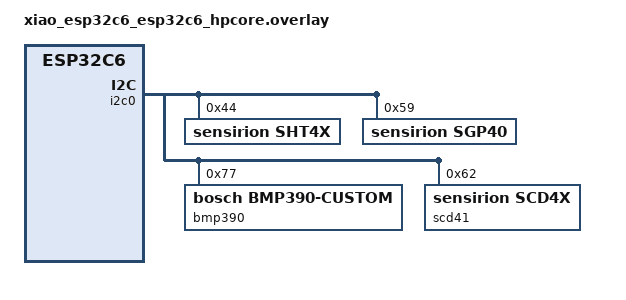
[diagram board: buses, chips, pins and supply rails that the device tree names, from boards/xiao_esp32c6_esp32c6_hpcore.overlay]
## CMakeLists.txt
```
# SPDX-License-Identifier: Apache-2.0

cmake_minimum_required(VERSION 3.20.0)

find_package(Zephyr REQUIRED HINTS $ENV{ZEPHYR_BASE})
project(air_quality_sensor)

target_include_directories(app PRIVATE
    include
    thirdparty/sensirion_gas_index_algorithm
)

# Listed explicitly rather than globbed: a glob is evaluated at configure time,
# so new files are missed until something forces a re-run, and it silently
# compiles anything that happens to sit under src/ - including the generated
# sources under src/matter/default_zap/zap-generated, which ncs_configure_data_model()
# already supplies to the matter-data-model target.
target_sources(app PRIVATE
    src/main.c
    src/air_quality_monitor.c
    src/components/device_identity.cpp
    src/components/event_handler.c
    src/components/factory_reset.cpp
    src/components/matter_handler.cpp
    src/components/sensors.c
    src/drivers/led_controller.c
    src/utils/air_quality_mapper.c
    src/utils/air_quality_mapper.cpp
    src/utils/variable_buffer.c
    thirdparty/sensirion_gas_index_algorithm/sensirion_gas_index_algorithm.c
)


# Enable GNU STD support.
include(${ZEPHYR_CONNECTEDHOMEIP_MODULE_DIR}/config/nrfconnect/app/enable-gnu-std.cmake)
# Include all source files that are located in the Matter common directory.
include(${ZEPHYR_NRF_MODULE_DIR}/samples/matter/common/cmake/source_common.cmake)
# Include Data Model utils
include(${ZEPHYR_NRF_MODULE_DIR}/samples/matter/common/cmake/data_model.cmake)
# Include ZAP helpers
include(${ZEPHYR_NRF_MODULE_DIR}/samples/matter/common/cmake/zap_helpers.cmake)
ncs_get_zap_parent_dir(ZAP_PARENT_DIR)

target_include_directories(app PRIVATE
    src/matter
    ${ZAP_PARENT_DIR}
)

ncs_configure_data_model()
```

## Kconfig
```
# Main Kconfig file for air quality sensor

mainmenu "Air Quality Sensor Configuration"

source "Kconfig.zephyr"

# Matter over Thread support (see src/matter/) - the only supported
# communication stack, enabled via CONFIG_CHIP=y in prj.conf.
if NET_L2_OPENTHREAD

choice OPENTHREAD_NORDIC_LIBRARY_CONFIGURATION
    default OPENTHREAD_NORDIC_LIBRARY_MTD
endchoice

choice OPENTHREAD_DEVICE_TYPE
    default OPENTHREAD_MTD
endchoice

endif # NET_L2_OPENTHREAD

source "${ZEPHYR_CONNECTEDHOMEIP_MODULE_DIR}/config/nrfconnect/chip-module/Kconfig.features"
source "${ZEPHYR_CONNECTEDHOMEIP_MODULE_DIR}/config/nrfconnect/chip-module/Kconfig.defaults"
source "${ZEPHYR_NRF_MODULE_DIR}/samples/matter/common/src/Kconfig"

menu "Application Configuration"

menu "Timing Configuration"

config SAMPLE_INTERVAL_MS
    int "Sensor sampling interval (milliseconds)"
    range 1000 3600000
    default 5000
    help
      How often every enabled sensor is read. This is a property of the sensors
      rather than of reporting: it also sets the sampling interval handed to the
      Sensirion gas index algorithm, which is specified for 1 s and tested up to
      10 s, and it is bounded below at 1000 ms so that the conversion to whole
      seconds stays meaningful.

config REPORT_INTERVAL_MS
    int "Matter reporting interval (milliseconds)"
    range 1000 3600000
    default 60000
    help
      How often the Matter cluster attributes are refreshed from the buffered
      samples. Together with SAMPLE_INTERVAL_MS this also sets how many samples
      are averaged into each reported value: one reporting period's worth, so
      every sample contributes to exactly one report. Note that when a controller
      actually receives values is governed by its own subscription min/max
      intervals, not by this value.


config SENSOR_WARMUP_TIME_MS
    int "Sensor warmup time (milliseconds)"
    default 5000
    help
      Warmup time for sensors in milliseconds. Required by SGP40 for consistent readings.

endmenu

menu "Factory Reset Configuration"

config FACTORY_RESET_POWER_CYCLES
    int "Power cycles in succession that trigger a factory reset"
    range 3 10
    default 5
    help
      The assembled board exposes no button, so the power supply is the only
      control a sealed unit offers. Power cycling the device this many times,
      each within FACTORY_RESET_POWER_CYCLE_WINDOW_MS of the previous boot,
      erases the settings partition and leaves the device uncommissioned. The
      lower bound keeps a couple of genuine restarts from reaching the count.

config FACTORY_RESET_POWER_CYCLE_WINDOW_MS
    int "Window for a power cycle to count towards a reset (milliseconds)"
    range 1000 30000
    default 5000
    help
      How long the device has to stay up before the boot count is dropped. Long
      enough to power cycle deliberately, short enough that restarts spread over
      an ordinary working session never accumulate.

endmenu

menu "Peripheral Configuration"

config ENABLE_EVENT_LED
    bool "Enable event LED"
    default y
    help
      Enable or disable the event LED.

# Each sensor is gated on its devicetree node, so the board overlay is the single
# source of truth for which parts exist. Adding the node enables both the Zephyr
# driver (which defaults from the same symbol) and the application support; these
# symbols only decide whether the application uses a part that is present.

config ENABLE_SHT4X
    bool "Enable SHT4X sensor"
    depends on DT_HAS_SENSIRION_SHT4X_ENABLED
    default y
    help
      Enable or disable SHT4X temperature/humidity sensor.

config ENABLE_SGP40
    bool "Enable SGP40 sensor"
    depends on DT_HAS_SENSIRION_SGP40_ENABLED
    default y
    help
      Enable or disable SGP40 VOC sensor.

config ENABLE_SCD4X
    bool "Enable SCD4X sensor"
    depends on DT_HAS_SENSIRION_SCD41_ENABLED || DT_HAS_SENSIRION_SCD40_ENABLED
    default y
    help
      Enable or disable SCD4X CO2 sensor.

config ENABLE_BMP390
    bool "Enable BMP390 sensor"
    depends on DT_HAS_BOSCH_BMP390_ENABLED
    default y
    help
      Enable or disable BMP390 pressure sensor.

config ENABLE_BME680
    bool "Enable BME680 sensor"
    depends on DT_HAS_BOSCH_BME680_ENABLED
    default y
    help
      Enable or disable BME680 sensor.

endmenu

menu "SCD4X Sensor Configuration"

config SCD4X_ALTITUDE
    int "Altitude (meters)"
    default 10
    help
      Altitude in meters. Only used if pressure is not provided by other sensors.

config SCD4X_TEMPERATURE_OFFSET_MILLI_C
    int "Temperature offset (milli-degrees Celsius)"
    range 0 20000
    default 0
    help
      Compensates the SCD4x self heating: reported temperature = measured -
      offset. Expressed in milli-degrees because Kconfig has no float type, so
      2.35 degrees is 2350. The sensor resolves about 0.0027 degrees, and the
      driver rejects anything outside 0 to 20 degrees.

endmenu
endmenu
```

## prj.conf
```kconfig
# Stacks
CONFIG_MAIN_STACK_SIZE=8192

# --- Matter over Thread (see src/matter/) ---
CONFIG_CHIP=y
CONFIG_CHIP_PROJECT_CONFIG="src/matter/chip_project_config.h"
CONFIG_NCS_SAMPLE_MATTER_ZAP_FILE_PATH="${APPLICATION_CONFIG_DIR}/src/matter/default_zap/aqs.zap"
# Example/placeholder Product ID, see:
# https://github.com/project-chip/connectedhomeip/blob/master/docs/examples/discussion/PID_allocation_for_example_apps.md
CONFIG_CHIP_DEVICE_PRODUCT_ID=32768
CONFIG_STD_CPP17=y
CONFIG_GLIBCXX_LIBCPP=y

# Add support for LEDs and buttons on Nordic development kits
# Switch LEDS on
CONFIG_DK_LIBRARY=y
CONFIG_NCS_SAMPLE_MATTER_LEDS=y

# Enable Matter pairing (BLE commissioning window) automatically on startup.
CONFIG_CHIP_ENABLE_PAIRING_AUTOSTART=y

# Enable Matter extended announcement and increase duration to 1 hour.
CONFIG_CHIP_BLE_EXT_ADVERTISING=y
CONFIG_CHIP_BLE_ADVERTISING_DURATION=60

# Factory data / OTA left disabled for this first bring-up task - uses
# Matter's compiled-in test certificates instead. The onboarding values below are
# only the fallbacks: src/components/device_identity.cpp derives a per-board
# serial number, unique ID and discriminator from the SoC device ID and persists
# them, so one binary still yields a distinct identity on every board. The setup
# passcode stays shared - a per-board one needs a SPAKE2+ verifier generated on
# the device, which belongs with real factory data.
CONFIG_CHIP_FACTORY_DATA=n
CONFIG_CHIP_OTA_REQUESTOR=n
CONFIG_SHELL=n

# Persistent Subscriptions
CONFIG_CHIP_PERSISTENT_SUBSCRIPTIONS=y

# Force MTD + Nordic's prebuilt OpenThread library: the Kconfig choice
# defaults in Kconfig alone don't reliably resolve (OPENTHREAD_LIBRARY_AVAILABLE
# depends circularly on OPENTHREAD_NORDIC_LIBRARY_MTD), leaving OpenThread built
# from source with no Nordic radio library - causing slow/unstable Thread
# join and commissioning failures.
CONFIG_OPENTHREAD_MTD=y
CONFIG_OPENTHREAD_NORDIC_LIBRARY_MTD=y

# Intermittently Connected Device tuning. Disabled: this build is USB powered,
# so trading reachability for sleep current buys nothing, and a 5 minute poll
# interval put the device out of reach between polls. Enabling it again also
# requires the IcdManagement cluster on endpoint 0, which the ZAP does not
# currently provide, and a fast polling interval shorter than the active mode
# duration. Keep this for a future battery powered build.
# CONFIG_CHIP_ENABLE_ICD_SUPPORT=y
# CONFIG_CHIP_ICD_LIT_SUPPORT=y
# CONFIG_CHIP_ICD_IDLE_MODE_DURATION=900
# CONFIG_CHIP_ICD_SLOW_POLL_INTERVAL=300000
# CONFIG_CHIP_ICD_ACTIVE_MODE_DURATION=500
# CONFIG_CHIP_ICD_ACTIVE_MODE_THRESHOLD=10000
# CONFIG_CHIP_ICD_FAST_POLLING_INTERVAL=1000
# CONFIG_CHIP_ICD_CLIENTS_PER_FABRIC=2

# No bootloader for this first bring-up task: MCUboot's dual-slot DFU support
# doesn't fit this board's flash budget alongside Matter+Thread+BLE (see
# git history for the partition-manager investigation). Without it, this is a
# single monolithic image again, just like the original BLE-only firmware -
# which also means the existing Adafruit UF2 bootloader is left untouched.
# Revisit once a real OTA/DFU mechanism is needed.
CONFIG_BOOTLOADER_MCUBOOT=n
CONFIG_CHIP_BOOTLOADER_MCUBOOT=n
CONFIG_CHIP_BOOTLOADER_NONE=y

# Link-Time Optimization: meaningfully reduces flash usage by eliminating
# dead code more aggressively across translation units.
CONFIG_LTO=y
CONFIG_ISR_TABLES_LOCAL_DECLARATION=y

# Hardware info, for the SoC device ID the per-board Matter identity derives from
CONFIG_HWINFO=y

# Flash
CONFIG_FLASH=y
CONFIG_FLASH_MAP=y
CONFIG_NVS=y
CONFIG_SETTINGS_NVS=y

# Settings
CONFIG_SETTINGS=y
CONFIG_SETTINGS_RUNTIME=y

# Peripherals and drivers
CONFIG_GPIO=y       # Required to control LED
CONFIG_I2C=y        # Required for sensors
CONFIG_SENSOR=y     # Required for sensors

# Device drivers
# SHT4X, SGP40, SCD4X and BMP388 (which also covers bosch,bmp390) all default to
# y when a matching devicetree node is enabled, so they need no entry here.
# BME68X_IAQ is the exception: it is the licensed BSEC path, has no devicetree
# default, and is mutually exclusive with the plain BME680 driver - which does
# default from devicetree, so it has to be turned off explicitly.
CONFIG_BME680=n
CONFIG_BME68X_IAQ=n

# Low power
CONFIG_PM_DEVICE=y

# Logging over the USB CDC ACM console. The board selects
# BOARD_SERIAL_BACKEND_CDC_ACM by default, which already turns on SERIAL,
# CONSOLE, UART_CONSOLE, USB_DEVICE_STACK_NEXT and CDC_ACM_SERIAL_INITIALIZE_AT_BOOT,
# and delays log processing at startup so early output survives enumeration.
# Nothing USB related belongs here - the board does it.
CONFIG_LOG=y
CONFIG_LOG_DEFAULT_LEVEL=3

# Application Configuration
# Timing Configuration
CONFIG_SAMPLE_INTERVAL_MS=30000
CONFIG_REPORT_INTERVAL_MS=60000

# Peripheral Configuration
# The sensor symbols now default to y for every part present in the board
# overlay, so they only need an entry here to turn one off. Flash is very tight
# (see the memory report after a build), so enable them one at a time.
CONFIG_ENABLE_EVENT_LED=y

# SCD4X Sensor Configuration
CONFIG_SCD4X_ALTITUDE=10
CONFIG_SCD4X_TEMPERATURE_OFFSET_MILLI_C=0
```

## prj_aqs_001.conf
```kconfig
# Stacks
CONFIG_MAIN_STACK_SIZE=8192
# CONFIG_IDLE_STACK_SIZE=2048
# CONFIG_HEAP_MEM_POOL_SIZE=2048

# Bluetooth general
CONFIG_BT=y
CONFIG_BT_PERIPHERAL=y
CONFIG_BT_DEVICE_NAME="air_quality_sensor_001"
# 0x0542, Air quality Sensor
CONFIG_BT_DEVICE_APPEARANCE=1346
CONFIG_BT_OBSERVER=y

# Bluetooth pairing & security
CONFIG_BT_SMP=y
CONFIG_BT_MAX_PAIRED=1
CONFIG_BT_FILTER_ACCEPT_LIST=y
CONFIG_BT_BONDABLE=y
CONFIG_BT_KEYS_OVERWRITE_OLDEST=y

# Flash
CONFIG_FLASH=y
CONFIG_FLASH_MAP=y
CONFIG_NVS=y
CONFIG_SETTINGS_NVS=y

# Settings
CONFIG_SETTINGS=y
CONFIG_BT_SETTINGS=y
CONFIG_SETTINGS_RUNTIME=y

# Peripherals and drivers
CONFIG_GPIO=y       # Required to control LED
CONFIG_I2C=y        # Required for sensors
CONFIG_SENSOR=y     # Required for sensors
CONFIG_ADC=y        # Required for battery level check
CONFIG_SPI=y        # Required for EPD
CONFIG_DISPLAY=y    # Required for EPD

# Device drivers
CONFIG_SSD16XX=y    # Required for EPD
CONFIG_SGP40=y      # Required for SGP40
CONFIG_SHT4X=y      # Required for SHT4X
CONFIG_BME680=n     # Not used
CONFIG_BME68X_IAQ=n # Required for BME680 IAQ algorithm

# Low power
CONFIG_PM_DEVICE=y

# Display
CONFIG_LV_Z_MEM_POOL_SIZE=8192
CONFIG_LVGL=y
CONFIG_LV_CONF_MINIMAL=y
CONFIG_LV_MEM_CUSTOM=y
CONFIG_LV_USE_LABEL=y
CONFIG_LV_FONT_MONTSERRAT_16=y
CONFIG_LV_FONT_MONTSERRAT_24=y
CONFIG_LV_FONT_MONTSERRAT_32=y
CONFIG_LV_Z_BITS_PER_PIXEL=1

# Enable partial refresh at all cases
CONFIG_LV_Z_VDB_SIZE=100

# Logging (comment below to enable log)
# CONFIG_USB_CDC_ACM_LOG_LEVEL_OFF=n
# CONFIG_USB_DEVICE_STACK=n
# CONFIG_LOG=n
# CONFIG_SERIAL=n
# CONFIG_CONSOLE=n
# CONFIG_UART_CONSOLE=n

# Logging (uncomment below to enable log)
CONFIG_LOG=y
CONFIG_SERIAL=y
CONFIG_CONSOLE=y
CONFIG_UART_CONSOLE=y
CONFIG_LOG_DEFAULT_LEVEL=3

# Application Configuration
# Timing Configuration
CONFIG_ADVERTISEMENT_INTERVAL=300000
CONFIG_BLE_TIMEOUT=10000
CONFIG_PAIRING_TIMEOUT=60000
CONFIG_MEASUREMENTS_PER_INTERVAL=1
CONFIG_SENSOR_WARMUP_TIME_MS=60000

# Bluetooth Configuration
CONFIG_ENABLE_CONN_FILTER_LIST=n
CONFIG_TEMPERATURE_SCALE=100
CONFIG_HUMIDITY_SCALE=100
CONFIG_PRESSURE_SCALE=1
CONFIG_CO2_CONCENTRATION_SCALE=10
CONFIG_VOC_INDEX_SCALE=10
CONFIG_IAQ_INDEX_SCALE=10

# Peripheral Configuration
CONFIG_ENABLE_EVENT_LED=y
CONFIG_ENABLE_SHT4X=y
CONFIG_ENABLE_SGP40=y
CONFIG_ENABLE_SCD4X=y
CONFIG_ENABLE_BMP390=y
CONFIG_ENABLE_BME680=n
CONFIG_ENABLE_EPD=y
CONFIG_ENABLE_BATTERY_MONITOR=y

# SCD4X Sensor Configuration
CONFIG_SCD4X_ALTITUDE=10
CONFIG_SCD4X_TEMPERATURE_OFFSET=0

# BME680 Sensor Configuration
CONFIG_BME68X_IAQ_SAMPLE_RATE_ULTRA_LOW_POWER=y

# Battery Monitor Configuration
CONFIG_USE_FAST_CHARGING=y
CONFIG_VOLTAGE_DIVIDER_R1=1031
CONFIG_VOLTAGE_DIVIDER_R2=510
```

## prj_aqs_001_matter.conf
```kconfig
# Stacks
CONFIG_MAIN_STACK_SIZE=8192

# --- Matter over Thread (see src/matter/) ---
CONFIG_CHIP=y
CONFIG_CHIP_PROJECT_CONFIG="src/matter/chip_project_config.h"
CONFIG_NCS_SAMPLE_MATTER_ZAP_FILES_PATH="src/matter/default_zap"
# Example/placeholder Product ID, see:
# https://github.com/project-chip/connectedhomeip/blob/master/docs/examples/discussion/PID_allocation_for_example_apps.md
CONFIG_CHIP_DEVICE_PRODUCT_ID=32768
CONFIG_STD_CPP17=y

# Enable Matter pairing (BLE commissioning window) automatically on startup.
CONFIG_CHIP_ENABLE_PAIRING_AUTOSTART=y

# Factory data / OTA left disabled for this first bring-up task - uses
# Matter's compiled-in test onboarding codes/certificates instead.
CONFIG_CHIP_FACTORY_DATA=n
CONFIG_CHIP_OTA_REQUESTOR=n
CONFIG_SHELL=n

# No bootloader for this first bring-up task: MCUboot's dual-slot DFU support
# doesn't fit this board's flash budget alongside Matter+Thread+BLE (see
# git history for the partition-manager investigation). Without it, this is a
# single monolithic image again, just like the original BLE-only firmware -
# which also means the existing Adafruit UF2 bootloader is left untouched.
# Revisit once a real OTA/DFU mechanism is needed.
CONFIG_BOOTLOADER_MCUBOOT=n
CONFIG_CHIP_BOOTLOADER_MCUBOOT=n
CONFIG_CHIP_BOOTLOADER_NONE=y

# Link-Time Optimization: meaningfully reduces flash usage by eliminating
# dead code more aggressively across translation units.
CONFIG_LTO=y
CONFIG_ISR_TABLES_LOCAL_DECLARATION=y

# Flash
CONFIG_FLASH=y
CONFIG_FLASH_MAP=y
CONFIG_NVS=y
CONFIG_SETTINGS_NVS=y

# Settings
CONFIG_SETTINGS=y
CONFIG_SETTINGS_RUNTIME=y

# Peripherals and drivers
CONFIG_GPIO=y       # Required to control LED
CONFIG_I2C=y        # Required for sensors
CONFIG_SENSOR=y     # Required for sensors

# Device drivers
CONFIG_SHT4X=y      # Required for SHT4X

# Low power
CONFIG_PM_DEVICE=y

# Logging
CONFIG_LOG=y
CONFIG_SERIAL=y
CONFIG_CONSOLE=y
CONFIG_UART_CONSOLE=y
CONFIG_LOG_DEFAULT_LEVEL=3

# Application Configuration
# Timing Configuration
CONFIG_ADVERTISEMENT_INTERVAL=300000
CONFIG_MEASUREMENTS_PER_INTERVAL=1
CONFIG_SENSOR_WARMUP_TIME_MS=60000

# Peripheral Configuration
CONFIG_ENABLE_EVENT_LED=y
CONFIG_ENABLE_SHT4X=y
CONFIG_ENABLE_SGP40=n
CONFIG_ENABLE_SCD4X=n
CONFIG_ENABLE_BMP390=n
CONFIG_ENABLE_BME680=n

# SCD4X Sensor Configuration
CONFIG_SCD4X_ALTITUDE=10
CONFIG_SCD4X_TEMPERATURE_OFFSET=0
```

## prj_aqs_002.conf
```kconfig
# Stacks
CONFIG_MAIN_STACK_SIZE=8192
# CONFIG_IDLE_STACK_SIZE=2048
# CONFIG_HEAP_MEM_POOL_SIZE=2048

# Bluetooth general
CONFIG_BT=y
CONFIG_BT_PERIPHERAL=y
CONFIG_BT_DEVICE_NAME="air_quality_sensor_002"
# 0x0542, Air quality Sensor
CONFIG_BT_DEVICE_APPEARANCE=1346
CONFIG_BT_OBSERVER=y

# Bluetooth pairing & security
CONFIG_BT_SMP=y
CONFIG_BT_MAX_PAIRED=1
CONFIG_BT_FILTER_ACCEPT_LIST=y
CONFIG_BT_BONDABLE=y
CONFIG_BT_KEYS_OVERWRITE_OLDEST=y

# Flash
CONFIG_FLASH=y
CONFIG_FLASH_MAP=y
CONFIG_NVS=y
CONFIG_SETTINGS_NVS=y

# Settings
CONFIG_SETTINGS=y
CONFIG_BT_SETTINGS=y
CONFIG_SETTINGS_RUNTIME=y

# Peripherals and drivers
CONFIG_GPIO=y       # Required to control LED
CONFIG_I2C=y        # Required for sensors
CONFIG_SENSOR=y     # Required for sensors
CONFIG_ADC=y        # Required for battery level check
CONFIG_SPI=y        # Required for EPD
CONFIG_DISPLAY=y    # Required for EPD

# Device drivers
CONFIG_SSD16XX=y    # Required for EPD
CONFIG_SGP40=y      # Required for SGP40
CONFIG_SHT4X=y      # Required for SHT4X
CONFIG_BME680=n     # Not used
CONFIG_BME68X_IAQ=y # Required for BME680 IAQ algorithm

# Low power
CONFIG_PM_DEVICE=y

# Display
CONFIG_LV_Z_MEM_POOL_SIZE=8192
CONFIG_LVGL=y
CONFIG_LV_CONF_MINIMAL=y
CONFIG_LV_MEM_CUSTOM=y
CONFIG_LV_USE_LABEL=y
CONFIG_LV_FONT_MONTSERRAT_16=y
CONFIG_LV_FONT_MONTSERRAT_24=y
CONFIG_LV_FONT_MONTSERRAT_32=y
CONFIG_LV_Z_BITS_PER_PIXEL=1

# Enable partial refresh at all cases
CONFIG_LV_Z_VDB_SIZE=100

# Logging (comment below to enable log)
# CONFIG_USB_CDC_ACM_LOG_LEVEL_OFF=n
# CONFIG_USB_DEVICE_STACK=n
# CONFIG_LOG=n
# CONFIG_SERIAL=n
# CONFIG_CONSOLE=n
# CONFIG_UART_CONSOLE=n

# Logging (uncomment below to enable log)
CONFIG_LOG=y
CONFIG_SERIAL=y
CONFIG_CONSOLE=y
CONFIG_UART_CONSOLE=y
CONFIG_LOG_DEFAULT_LEVEL=3

# Application Configuration
# Timing Configuration
CONFIG_ADVERTISEMENT_INTERVAL=300000
CONFIG_BLE_TIMEOUT=10000
CONFIG_PAIRING_TIMEOUT=60000
CONFIG_MEASUREMENTS_PER_INTERVAL=1
CONFIG_SENSOR_WARMUP_TIME_MS=60000

# Bluetooth Configuration
CONFIG_ENABLE_CONN_FILTER_LIST=n
CONFIG_TEMPERATURE_SCALE=100
CONFIG_HUMIDITY_SCALE=100
CONFIG_PRESSURE_SCALE=1
CONFIG_CO2_CONCENTRATION_SCALE=10
CONFIG_VOC_INDEX_SCALE=10
CONFIG_IAQ_INDEX_SCALE=10

# Peripheral Configuration
CONFIG_ENABLE_EVENT_LED=y
CONFIG_ENABLE_SHT4X=y
CONFIG_ENABLE_SGP40=n
CONFIG_ENABLE_SCD4X=y
CONFIG_ENABLE_BMP390=n
CONFIG_ENABLE_BME680=y
CONFIG_ENABLE_EPD=y
CONFIG_ENABLE_BATTERY_MONITOR=y

# SCD4X Sensor Configuration
CONFIG_SCD4X_ALTITUDE=10
CONFIG_SCD4X_TEMPERATURE_OFFSET=0

# BME680 Sensor Configuration
CONFIG_BME68X_IAQ_SAMPLE_RATE_ULTRA_LOW_POWER=y

# Battery Monitor Configuration
CONFIG_USE_FAST_CHARGING=y
CONFIG_VOLTAGE_DIVIDER_R1=1031
CONFIG_VOLTAGE_DIVIDER_R2=510
```

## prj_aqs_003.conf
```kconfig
# Stacks
CONFIG_MAIN_STACK_SIZE=8192

# Bluetooth general
CONFIG_BT=y
CONFIG_BT_PERIPHERAL=y
CONFIG_BT_DEVICE_NAME="air_quality_sensor_003"
# 0x0542, Air quality Sensor
CONFIG_BT_DEVICE_APPEARANCE=1346
CONFIG_BT_OBSERVER=y

# Bluetooth pairing & security
CONFIG_BT_SMP=y
CONFIG_BT_MAX_PAIRED=1
CONFIG_BT_FILTER_ACCEPT_LIST=y
CONFIG_BT_BONDABLE=y
CONFIG_BT_KEYS_OVERWRITE_OLDEST=y

# Flash
CONFIG_FLASH=y
CONFIG_FLASH_MAP=y
CONFIG_NVS=y
CONFIG_SETTINGS_NVS=y

# Settings
CONFIG_SETTINGS=y
CONFIG_BT_SETTINGS=y
CONFIG_SETTINGS_RUNTIME=y

# Peripherals and drivers
CONFIG_GPIO=y       # Required to control LED
CONFIG_I2C=y        # Required for sensors
CONFIG_SENSOR=y     # Required for sensors

# Device drivers
CONFIG_SGP40=y      # Required for SGP40
CONFIG_SHT4X=y      # Required for SHT4X

# Low power
CONFIG_PM_DEVICE=y

# Logging
CONFIG_LOG=y
CONFIG_SERIAL=y
CONFIG_CONSOLE=y
CONFIG_LOG_DEFAULT_LEVEL=3

# Application Configuration
# Timing Configuration
CONFIG_ADVERTISEMENT_INTERVAL=300000
CONFIG_BLE_TIMEOUT=10000
CONFIG_PAIRING_TIMEOUT=60000
CONFIG_MEASUREMENTS_PER_INTERVAL=1
CONFIG_SENSOR_WARMUP_TIME_MS=60000

# Bluetooth Configuration
CONFIG_ENABLE_CONN_FILTER_LIST=n
CONFIG_TEMPERATURE_SCALE=100
CONFIG_HUMIDITY_SCALE=100
CONFIG_PRESSURE_SCALE=1
CONFIG_CO2_CONCENTRATION_SCALE=10
CONFIG_VOC_INDEX_SCALE=10
CONFIG_IAQ_INDEX_SCALE=10

# Peripheral Configuration
# XIAO ESP32C6 only exposes a single monochrome LED (no led1/led2 aliases).
CONFIG_ENABLE_EVENT_LED=y
CONFIG_LED_RGB=n

CONFIG_ENABLE_SHT4X=y
CONFIG_ENABLE_SGP40=y
CONFIG_ENABLE_SCD4X=y
CONFIG_ENABLE_BMP390=y
CONFIG_ENABLE_BME680=n

# Not yet wired/ported for this board - follow-up tasks.
CONFIG_ENABLE_EPD=n
CONFIG_ENABLE_BATTERY_MONITOR=n

# SCD4X Sensor Configuration
CONFIG_SCD4X_ALTITUDE=10
CONFIG_SCD4X_TEMPERATURE_OFFSET=0
```

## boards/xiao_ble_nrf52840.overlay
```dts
// To get started, press Ctrl+Space to bring up the completion menu and view the available nodes.

// You can also use the buttons in the sidebar to perform actions on nodes.
// Actions currently available include:

// * Enabling / disabling the node
// * Adding the bus to a bus
// * Removing the node
// * Connecting ADC channels

// For more help, browse the DeviceTree documentation at https: //docs.zephyrproject.org/latest/guides/dts/index.html
// You can also visit the nRF DeviceTree extension documentation at https: //docs.nordicsemi.com/bundle/nrf-connect-vscode/page/guides/ncs_configure_app.html#devicetree-support-in-the-extension

/ {
	// XIAO BLE has no physical buttons. NCS's Matter common board helper
	// (nrf/samples/matter/common/src/board/board_config.h) unconditionally
	// computes NUMBER_OF_BUTTONS from DT_PATH(buttons) at compile time, so an
	// (empty) buttons node is needed for it to compile - Board::Init() itself
	// already no-ops correctly on boards without CONFIG_DK_LIBRARY (no real
	// button behavior is implied by this node).
	leds {
		compatible = "gpio-leds";

		led2: led_2 {
			gpios = <&gpio0 26 GPIO_ACTIVE_LOW>;
			label = "Red LED";
		};

		led1: led_1 {
			gpios = <&gpio0 30 GPIO_ACTIVE_LOW>;
			label = "Green LED";
		};

		led0: led_0 {
			gpios = <&gpio0 6 GPIO_ACTIVE_HIGH>;
			label = "Blue LED";
		};
	};

	buttons {
		compatible = "gpio-keys";

		button0: button_0 {
			gpios = <&gpio1 14 (GPIO_PULL_UP | GPIO_ACTIVE_LOW)>;
			label = "Push button switch 0";
			zephyr,code = <INPUT_KEY_0>;
		};
	};
};

&i2c1 {
	status = "okay";
	clock-frequency = <I2C_BITRATE_FAST>;
	sht4x: sht4x@44 {
		status = "disabled";
		compatible = "sensirion,sht4x";
		reg = <0x44>;
		repeatability = <2>;
	};
	sgp40: sgp40@59 {
		    status = "disabled";
		    compatible = "sensirion,sgp40";
		    reg = <0x59>;
	};

	bmp390: bmp390@77 {
		status = "disabled";
		compatible = "bosch,bmp390";
		reg = <0x77>;
		odr = "12.5";
		osr-press = <8>;
		osr-temp = <1>;
		iir-filter = <1>;
	};

	scd41: scd41@62 {
		status = "disabled";
		compatible = "sensirion,scd41";
		reg = <0x62>;
		mode = <0>;
	};
	bme680: bme680@77 {
		status = "disabled";
		compatible = "bosch,bme680";
		reg = <0x77>;
	};
};

&qspi {
	// Do not change the pins during sleep otherwise a 6mA consumption happens
	pinctrl-1 = <&qspi_default>;
};

/ {
	aliases {
		spi-flash0 = &p25q16h;
	};
};

&spi3 {
	status = "disabled";
};

&uart0 {
	status = "disabled";
};

&pwm0 {
	status = "disabled";
};

&gpio0 {
	status = "okay";
};
```

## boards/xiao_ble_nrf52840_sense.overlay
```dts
// To get started, press Ctrl+Space to bring up the completion menu and view the available nodes.

// You can also use the buttons in the sidebar to perform actions on nodes.
// Actions currently available include:

// * Enabling / disabling the node
// * Adding the bus to a bus
// * Removing the node
// * Connecting ADC channels

// For more help, browse the DeviceTree documentation at https: //docs.zephyrproject.org/latest/guides/dts/index.html
// You can also visit the nRF DeviceTree extension documentation at https: //docs.nordicsemi.com/bundle/nrf-connect-vscode/page/guides/ncs_configure_app.html#devicetree-support-in-the-extension

/ {
	// XIAO BLE has no physical buttons. NCS's Matter common board helper
	// (nrf/samples/matter/common/src/board/board_config.h) unconditionally
	// computes NUMBER_OF_BUTTONS from DT_PATH(buttons) at compile time, so an
	// (empty) buttons node is needed for it to compile - Board::Init() itself
	// already no-ops correctly on boards without CONFIG_DK_LIBRARY (no real
	// button behavior is implied by this node).
	leds {
		compatible = "gpio-leds";

		led2: led_2 {
			gpios = <&gpio0 26 GPIO_ACTIVE_LOW>;
			label = "Red LED";
		};

		led1: led_1 {
			gpios = <&gpio0 30 GPIO_ACTIVE_LOW>;
			label = "Green LED";
		};

		led0: led_0 {
			gpios = <&gpio0 6 GPIO_ACTIVE_HIGH>;
			label = "Blue LED";
		};
	};

	buttons {
		compatible = "gpio-keys";

		button0: button_0 {
			gpios = <&gpio1 14 (GPIO_PULL_UP | GPIO_ACTIVE_LOW)>;
			label = "Push button switch 0";
			zephyr,code = <INPUT_KEY_0>;
		};
	};
};

&i2c1 {
	status = "okay";
	clock-frequency = <I2C_BITRATE_FAST>;

	sht4x: sht4x@44 {
		status = "disabled";
		compatible = "sensirion,sht4x";
		reg = <0x44>;
		repeatability = <2>;
	};

	sgp40: sgp40@59 {
		status = "disabled";
		compatible = "sensirion,sgp40";
		reg = <0x59>;
	};

	bmp390: bmp390@77 {
		status = "disabled";
		compatible = "bosch,bmp390";
		reg = <0x77>;
		odr = "12.5";
		osr-press = <8>;
		osr-temp = <1>;
		iir-filter = <1>;
	};

	scd41: scd41@62 {
		status = "disabled";
		compatible = "sensirion,scd41";
		reg = <0x62>;
		mode = <1>;
	};
	bme680: bme680@77 {
		status = "disabled";
		compatible = "bosch,bme680";
		reg = <0x77>;
	};
};

&qspi {
	// Do not change the pins during sleep otherwise a 6mA consumption happens
	pinctrl-1 = <&qspi_default>;
};

/ {
	aliases {
		spi-flash0 = &p25q16h;
	};
};

&spi3 {
	status = "disabled";
};

&uart0 {
	status = "disabled";
};

&pwm0 {
	status = "disabled";
};

&gpio0 {
	status = "okay";
};
```

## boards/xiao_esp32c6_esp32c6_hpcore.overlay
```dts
// Devicetree overlay for the Seeed XIAO ESP32-C6 board.
// i2c0 is already enabled with pinctrl by the board's default devicetree
// (SDA=GPIO22, SCL=GPIO23, matching the XIAO Grove I2C header pins used by
// the nRF52840 XIAO variants as well).

&i2c0 {
	sht4x@44 {
		status = "okay";
		compatible = "sensirion,sht4x";
		reg = <0x44>;
		repeatability = <2>;
	};
	sgp40@59 {
		status = "okay";
		compatible = "sensirion,sgp40";
		reg = <0x59>;
	};
	bmp390@77 {
		status = "okay";
		compatible = "bosch,bmp390-custom";
		reg = <0x77>;
		odr = "50";
		osr-press = <2>;
		osr-temp = <1>;
		iir-filter = <1>;
		mode = <1>;
		enable-pressure;
		enable-temp;
	};
	scd41@62 {
		status = "okay";
		compatible = "sensirion,scd4x";
		reg = <0x62>;
		mode = <2>;
	};
};
```

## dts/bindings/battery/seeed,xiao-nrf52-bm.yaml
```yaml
description: binding for Seeed XIAO nRF52 battery monitor

compatible: "seeed,xiao-nrf52-bm"

properties:
  enable-charging-gpios:
    type: phandle-array
    required: true
    description: |
      GPIO for enabling charging

  read-gpios:
    type: phandle-array
    required: true
    description: |
      GPIO for reading the battery voltage

  charge-current-select-gpios:
    type: phandle-array
    required: true
    description: |
      GPIO for selecting the charging speed (high = 100mA, low = 50mA)
```

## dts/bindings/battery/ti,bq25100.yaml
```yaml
description: binding for Texas Instruments BQ25100 control on seeed XIAO nrf52840 board

compatible: "ti,bq25100"

properties:
  enable-led-gpios:
    type: phandle-array
    required: true
    description: |
      GPIO for enabling charging status LED

  enable-read-gpios:
    type: phandle-array
    required: true
    description: |
      GPIO for reading the battery voltage

  charge-current-select-gpios:
    type: phandle-array
    required: true
    description: |
      GPIO for selecting the charging speed (high = 100mA, low = 50mA)
```

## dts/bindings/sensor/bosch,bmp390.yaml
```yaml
# dts/bindings/sensor/bosch,bmp390.yaml
description: |
    Bosch BMP390 pressure sensor accessed through I2C bus

compatible: "bosch,bmp390"

include: [sensor-device.yaml, i2c-device.yaml]  

properties:
  mode:
    type: int
    required: true
    description: |
      - 0: Normal periodic measurement with set interval
      - 1: Forced measurements only.
    enum:
      - 0
      - 1
  odr:
    type: string
    description: |
      Default output data rate in Hz. Only the following values are allowed:
        200   - 200     - 5ms  (default; chip reset value)
        100   - 100     - 10ms
        50    - 50      - 20ms
        25    - 25      - 40ms
        12.5  - 25/2    - 80ms
        6.25  - 25/4    - 160ms
        3.125 - 25/8    - 320ms
        1.563 - 25/16   - 640ms
        .781  - 25/32   - 1.28s
        .391  - 25/64   - 2.56s
        .195  - 25/128  - 5.12s
        .098  - 25/256  - 10.24s
        .049  - 25/512  - 20.48s
        .024  - 25/1024 - 40.96s
        .012  - 25/2048 - 81.92s
        .006  - 25/4096 - 163.84s
        .003  - 25/8192 - 327.68s
    default: "200"
    enum:
      - "200"
      - "100"
      - "50"
      - "25"
      - "12.5"
      - "6.25"
      - "3.125"
      - "1.563"
      - ".781"
      - ".391"
      - ".195"
      - ".098"
      - ".049"
      - ".024"
      - ".012"
      - ".006"
      - ".003"

  osr-press:
    type: int
    description: |
      Default pressure oversampling rate. Only the following values are
      allowed:
        1 sample, 16-bit, 2.64 Pa
        2 samples, 17-bit, 1.32 Pa
        4 samples, 18-bit, 0.66 Pa (default; chip reset value)
        8 samples, 19-bit, 0.33 Pa
        16 samples, 20-bit, 0.17 Pa
        32 Samples, 21-bit, 0.085 Pa
    default: 4
    enum:
      - 1
      - 2
      - 4
      - 8
      - 16
      - 32

  osr-temp:
    type: int
    description: |
      Default temperature oversampling rate. Only the following values are
      allowed:
        1 sample, 16-bit, .0050 C (default; chip reset value)
        2 samples, 17-bit, .0025 C
        4 samples, 18-bit, .0012 C
        8 samples, 19-bit, .0006 C
        16 samples, 20-bit, .0003 C
        32 Samples, 21-bit, .00015 C
    default: 1
    enum:
      - 1
      - 2
      - 4
      - 8
      - 16
      - 32

  iir-filter:
    type: int
    description: |
      Default IIR filter coefficient. The default 0 is the chip reset value.
    default: 0
    enum:
      - 0
      - 1
      - 3
      - 7
      - 15
      - 31
      - 63
      - 127
      
  enable-pressure:
    type: boolean
    description: |
      Enabling this will enable pressure measurement.

  enable-temp:
    type: boolean
    description: |
      Enabling this will enable temperature measurement.
```

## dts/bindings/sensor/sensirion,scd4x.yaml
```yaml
# dts/bindings/sensor/sensirion,scd4x.yaml
description: Sensirion SCD4x CO₂ sensor

# Note: intentionally not "sensirion,scd41" - that compatible is now also
# defined by mainline Zephyr's own upstream binding, and this project uses
# its own custom driver/binding (src/drivers/scd4x.c), so a distinct name
# avoids a devicetree binding collision when building against mainline Zephyr.
compatible: "sensirion,scd4x"

include: [sensor-device.yaml, i2c-device.yaml]

properties:
  mode:
    type: int
    required: true
    description: |
      - 0: Normal periodic measurement. Default interval of 5sec
      - 1: Low power periodic measurement. Interval of 30sec
      - 2: Singleshot measurement for low power usage.
      - 3: Singleshot measurement with power cycling (only beneficial with intervals of greater than 380sec).
    enum:
      - 0
      - 1
      - 2 
      - 3
  enable-selftest:
    type: boolean
    description: |
      Enabling this will run a selftest when the driver initializes.
      The selftest takes ~10s.
```

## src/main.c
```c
#include <air_quality_monitor.h>

#include <zephyr/logging/log.h>

LOG_MODULE_REGISTER(app);

int main(void)
{
	LOG_INF("Initializing and starting the air quality monitor.");
	int rc = 0;

	// Initialize the air quality monitor
	rc = init_air_quality_monitor();
	if (rc != 0)
	{
		LOG_ERR("Air quality monitor initialized with errors (err %d), continuing.", rc);
	}

	// Start the air quality monitor
	LOG_INF("Initialization complete, starting the monitoring.");
	rc = start_air_quality_monitor();
	if (rc != 0)
	{
		LOG_ERR("Error while starting the air quality monitor (err %d).", rc);
	}

	return rc;
}
```

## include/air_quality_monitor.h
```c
#ifndef AIR_QUALITY_MONITOR_H
#define AIR_QUALITY_MONITOR_H

/**
 * @brief Initialize air quality monitor
 *
 * Initializes the event handler, Matter and the sensors. A failing subsystem
 * dispatches INITIALIZATION_ERROR but does not abort: startup has to continue
 * so that whatever did come up stays operational and the node remains
 * reachable over Matter.
 *
 * @return int, 0 if ok, non-zero if any subsystem failed
 */
int init_air_quality_monitor(void);

/**
 * @brief Start air quality monitor by initiating the periodic task
 *
 * Enters the Matter task dispatch loop and does not return.
 *
 * @return int, 0 if ok, non-zero if an error occured
 */
int start_air_quality_monitor(void);

#endif // AIR_QUALITY_MONITOR_H
```

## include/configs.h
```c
// #ifndef CONFIG_H
// #define CONFIG_H

// #include <zephyr/autoconf.h>

// // Measurement and advertising intervals and timing
// #define ADVERTISEMENT_INTERVAL CONFIG_ADVERTISEMENT_INTERVAL
// #define BLE_TIMEOUT CONFIG_BLE_TIMEOUT
// #define MEASUREMENTS_PER_INTERVAL CONFIG_MEASUREMENTS_PER_INTERVAL
// #define SENSOR_WARMUP_TIME_MS CONFIG_SENSOR_WARMUP_TIME_MS

// // Bluetooth
// #ifdef CONFIG_ENABLE_CONN_FILTER_LIST
// #define ENABLE_CONN_FILTER_LIST
// #endif
// #define TEMPERATURE_SCALE CONFIG_TEMPERATURE_SCALE
// #define HUMIDITY_SCALE CONFIG_HUMIDITY_SCALE
// #define PRESSURE_SCALE (CONFIG_PRESSURE_SCALE_INT / 10.0f)
// #define CO2_CONCENTRATION_SCALE CONFIG_CO2_CONCENTRATION_SCALE
// #define VOC_INDEX_SCALE CONFIG_VOC_INDEX_SCALE

// // Peripherals
// #ifdef CONFIG_ENABLE_EVENT_LED
// #define ENABLE_EVENT_LED
// #endif
// #ifdef CONFIG_ENABLE_SHT4X
// #define ENABLE_SHT4X
// #endif
// #ifdef CONFIG_ENABLE_SGP40
// #define ENABLE_SGP40
// #endif
// #ifdef CONFIG_ENABLE_SCD4X
// #define ENABLE_SCD4X
// #endif
// #ifdef CONFIG_ENABLE_BMP390
// #define ENABLE_BMP390
// #endif
// #ifdef CONFIG_ENABLE_EPD
// #define ENABLE_EPD
// #endif
// #ifdef CONFIG_ENABLE_BATTERY_MONITOR
// #define ENABLE_BATTERY_MONITOR
// #endif

// // SCD41 configs 
// #define SCD4X_ALTITUDE CONFIG_SCD4X_ALTITUDE
// #define SCD4X_TEMPERATURE_OFFSET CONFIG_SCD4X_TEMPERATURE_OFFSET

// // Battery monitor config
// #define USE_FAST_CHARGING CONFIG_USE_FAST_CHARGING
// #define VOLTAGE_DIVIDER_R1 CONFIG_VOLTAGE_DIVIDER_R1
// #define VOLTAGE_DIVIDER_R2 CONFIG_VOLTAGE_DIVIDER_R2

// #endif
```

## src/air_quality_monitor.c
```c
#include <air_quality_monitor.h>
#include <components/matter_handler.h>
#include <components/sensors.h>
#include <utils/variable_buffer.h>
#include <components/event_handler.h>
#include <components/factory_reset.h>

#include <zephyr/logging/log.h>

LOG_MODULE_REGISTER(air_quality_monitor);

#define SCHEDULE_SUCCESS 0
#define SCHEDULE_ALREADY_QUEUED 1

/** @brief Delay before the first sample, to let Matter and Thread settle */
#define STARTUP_DELAY_MS 10000

/**
 * @brief Lower priority work queue for handling Periodic task progress
 *
 */
#define PERIODIC_TASK_THREAD_STACK_SIZE 4096
#define PERIODIC_TASK_THREAD_PRIORITY K_PRIO_PREEMPT(0)
K_THREAD_STACK_DEFINE(periodic_task_stack, PERIODIC_TASK_THREAD_STACK_SIZE);
static struct k_work_q periodic_task_work_q;


/**
 * @brief Work items for the two independent clocks
 *
 * Sampling and reporting are scheduled separately: the sampling rate belongs to
 * the sensors, the reporting rate to the application. Both run on the same work
 * queue, so they are serialised against each other and the value buffers need no
 * further locking.
 */
static struct k_work_delayable sample_work;
static struct k_work_delayable report_work;

/**
 * @brief Reschedule a work item, compensating for how long the work itself took
 *
 * @param work Work item to reschedule
 * @param period_ms Nominal period of the work item
 * @param start_time_ms Uptime at which this run started
 * @return int, 0 if ok, non-zero if an error occured
 */
static int reschedule(struct k_work_delayable *work, int64_t period_ms, int64_t start_time_ms)
{
    int64_t delay = period_ms - (k_uptime_get() - start_time_ms);

    if (delay < 0)
    {
        LOG_ERR("Missed deadline by %lld ms, scheduling immediately.", -delay);
        delay = 0;
    }

    int rc = k_work_schedule_for_queue(&periodic_task_work_q, work, K_MSEC(delay));
    if (rc != SCHEDULE_SUCCESS && rc != SCHEDULE_ALREADY_QUEUED)
    {
        LOG_ERR("Error scheduling a task (err %d).", rc);
        return rc;
    }
    return 0;
}

/**
 * @brief Read every enabled sensor into the value buffers
 *
 * @param work Address of work item.
 */
static void sample_task(struct k_work *work)
{
    int64_t start_time_ms = k_uptime_get();
    bool success = true;

    if (read_sensors() != 0)
    {
        LOG_WRN("Failed to read some sensor data.");
        success = false;
        dispatch_event(PERIODIC_TASK_WARNING);
    }

    if (reschedule(&sample_work, CONFIG_SAMPLE_INTERVAL_MS, start_time_ms) != 0)
    {
        dispatch_event(PERIODIC_TASK_ERROR);
    }
    else if (success)
    {
        dispatch_event(PERIODIC_TASK_SUCCESS);
    }
}

/**
 * @brief Publish the buffered values to the Matter data model
 *
 * @param work Address of work item.
 */
static void report_task(struct k_work *work)
{
    int64_t start_time_ms = k_uptime_get();

    if (update_cluster_states() != 0)
    {
        dispatch_event(PERIODIC_TASK_WARNING);
    }

    if (reschedule(&report_work, CONFIG_REPORT_INTERVAL_MS, start_time_ms) != 0)
    {
        dispatch_event(PERIODIC_TASK_ERROR);
    }
}

int init_air_quality_monitor(void)
{
    int rc = 0;
    int status = 0;

    // Initialize LED controller
    LOG_INF("Initializing event handler.");
    rc = init_event_handler();
    if (rc != 0)
    {
        LOG_ERR("Error while initializing event handler (err %d).", rc);
        dispatch_event(INITIALIZATION_ERROR);
        status = rc;
    }
    else
    {
        LOG_INF("Event handler initialized succesfully.");
    }

    // Counted before Matter starts, so a requested reset is known by the time the
    // server is up to carry it out.
    LOG_INF("Checking the power cycle factory reset gesture.");
    rc = init_factory_reset();
    if (rc != 0)
    {
        LOG_ERR("Error while initializing the factory reset trigger (err %d).", rc);
        dispatch_event(INITIALIZATION_ERROR);
        status = rc;
    }

    // Initialize matter
    LOG_INF("Initializing matter.");
    rc = init_matter();
    if (rc != 0)
    {
        LOG_ERR("Error while initializing matter (err %d).", rc);
        dispatch_event(INITIALIZATION_ERROR);
        status = rc;
    }
    else
    {
        // Needs a running Matter server: the reset withdraws the device's SRP
        // records from the border router before it erases storage.
        run_pending_factory_reset();
    }

    // Initialize sensors
    LOG_INF("Initializing the sensors.");
    rc = init_sensors();
    if (rc != 0)
    {
        LOG_ERR("Error while initializing sensors (err %d).", rc);
        dispatch_event(INITIALIZATION_ERROR);
        status = rc;
    }
    else
    {
        LOG_INF("Sensors initialized succesfully.");
    }

    if (status == 0)
    {
        dispatch_event(INITIALIZATION_SUCCESS);
    }

    return status;
}

int start_air_quality_monitor(void)
{
    int rc = 0;

    // Start periodic task work queue
    k_work_queue_start(&periodic_task_work_q, periodic_task_stack,
                       PERIODIC_TASK_THREAD_STACK_SIZE, PERIODIC_TASK_THREAD_PRIORITY, NULL);

    LOG_INF("Setting up the sampling and reporting tasks.");
    k_work_init_delayable(&sample_work, sample_task);
    k_work_init_delayable(&report_work, report_task);

    int64_t now = k_uptime_get();

    rc = reschedule(&sample_work, STARTUP_DELAY_MS, now);
    if (rc == 0)
    {
        // Offset the first report so it publishes samples that already exist
        rc = reschedule(&report_work, STARTUP_DELAY_MS + CONFIG_SAMPLE_INTERVAL_MS, now);
    }

    if (rc != 0)
    {
        // Fall through to the dispatch loop so the node stays addressable
        LOG_ERR("Failed to schedule the periodic tasks (err %d).", rc);
        dispatch_event(STARTUP_ERROR);
    }
    else
    {
        LOG_INF("Sampling and reporting tasks started succesfully.");
        dispatch_event(STARTUP_SUCCESS);
    }

    matter_dispatch_tasks(); // Never returns

    return rc;
}
```
